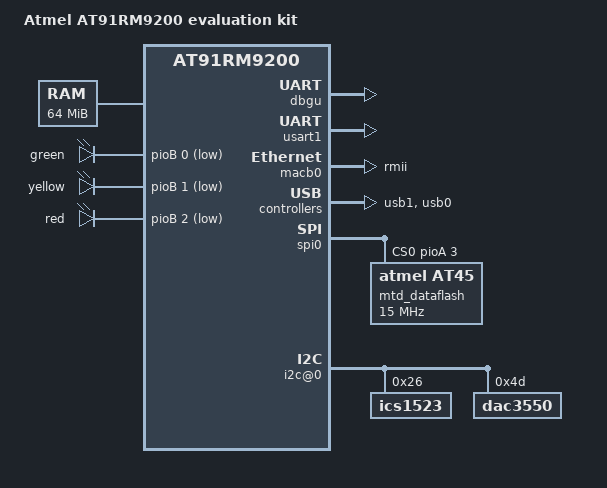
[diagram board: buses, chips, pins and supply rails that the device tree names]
/*
 * at91rm9200ek.dts - Device Tree file for Atmel AT91RM9200 evaluation kit
 *
 *  Copyright (C) 2012 Joachim Eastwood <manabian@gmail.com>
 *
 * Licensed under GPLv2 only
 */
/dts-v1/;
#include "at91rm9200.dtsi"

/ {
	model = "Atmel AT91RM9200 evaluation kit";
	compatible = "atmel,at91rm9200ek", "atmel,at91rm9200";

	memory {
		reg = <0x20000000 0x4000000>;
	};

	clocks {
		#address-cells = <1>;
		#size-cells = <1>;
		ranges;

		main_clock: clock@0 {
			compatible = "atmel,osc", "fixed-clock";
			clock-frequency = <18432000>;
		};
	};

	ahb {
		apb {
			pinctrl@fffff400 {
				usb1 {
					pinctrl_usb1_vbus: usb1_vbus-0 {
						atmel,pins = <AT91_PIOD 4 AT91_PERIPH_GPIO AT91_PINCTRL_NONE>;
					};

					pinctrl_usb1_pullup: usb1_pullup-0 {
						atmel,pins = <AT91_PIOD 5 AT91_PERIPH_GPIO AT91_PINCTRL_MULTI_DRIVE>;
					};
				};

				mmc0 {
					pinctrl_mmc0_slot0_detect: mmc0_slot0_detect-0 {
						atmel,pins =
							<AT91_PIOB 27 AT91_PERIPH_GPIO AT91_PINCTRL_PULL_UP_DEGLITCH>;
					};

					pinctrl_mmc0_slot0_write_protect: mmc0_slot0_write_protect-0 {
						atmel,pins =
							<AT91_PIOA 17 AT91_PERIPH_GPIO AT91_PINCTRL_PULL_UP>;
					};

					pinctrl_mmc0_slot0_switch: mmc0_slot0_switch-0 {
						atmel,pins =
							<AT91_PIOB 22 AT91_PERIPH_GPIO (AT91_PINCTRL_OUTPUT | AT91_PINCTRL_OUTPUT_VAL(1))>;
					};
				};

				spi0 {
					pinctrl_spi0_cs3_switch: spi0_cs3_switch-0 {
						atmel,pins =
							<AT91_PIOB 22 AT91_PERIPH_GPIO (AT91_PINCTRL_OUTPUT | AT91_PINCTRL_OUTPUT_VAL(0))>;
					};
				};
			};

			dbgu: serial@fffff200 {
				status = "okay";
			};

			usart1: serial@fffc4000 {
				pinctrl-0 =
						<&pinctrl_uart1
						 &pinctrl_uart1_rts
						 &pinctrl_uart1_cts
						 &pinctrl_uart1_dtr_dsr
						 &pinctrl_uart1_dcd
						 &pinctrl_uart1_ri>;
				status = "okay";
			};

			macb0: ethernet@fffbc000 {
				phy-mode = "rmii";
				status = "okay";

				phy0: ethernet-phy {
					interrupt-parent = <&pioC>;
					interrupts = <4 IRQ_TYPE_EDGE_FALLING>;
				};
			};

			usb1: gadget@fffb0000 {
				atmel,vbus-gpio = <&pioD 4 GPIO_ACTIVE_HIGH>;
				atmel,pullup-gpio = <&pioD 5 GPIO_ACTIVE_HIGH>;
				pinctrl-names = "default";
				pinctrl-0 = <&pinctrl_usb1_vbus
					     &pinctrl_usb1_pullup>;
				status = "okay";
			};

			spi0: spi@fffe0000 {
				status = "okay";
				cs-gpios = <&pioA 3 0>, <0>, <0>, <0>;
				mtd_dataflash@0 {
					compatible = "atmel,at45", "atmel,dataflash";
					spi-max-frequency = <15000000>;
					reg = <0>;
				};
			};

			mmc0: mmc@fffb4000 {
				#address-cells = <1>;
				#size-cells = <0>;
				pinctrl-0 = <&pinctrl_mmc0_clk
					     &pinctrl_mmc0_slot0_cmd_dat0
					     &pinctrl_mmc0_slot0_dat1_3
					     &pinctrl_mmc0_slot0_detect
					     &pinctrl_mmc0_slot0_write_protect
					     &pinctrl_mmc0_slot0_switch>;

				slot0: slot@0 {
					reg = <0>;
					bus-width = <4>;
					cd-gpios = <&pioB 27 GPIO_ACTIVE_HIGH>;
					wp-gpios = <&pioA 17 GPIO_ACTIVE_HIGH>;
				};
			};

			spi0: spi@fffe0000 {
				pinctrl-0 = <&pinctrl_spi0 &pinctrl_spi0_cs0>;
				cs-gpios = <&pioA 3 GPIO_ACTIVE_HIGH>, <0>,
					   <0>, <0>;
				status = "okay";

				mtd_dataflash@0 {
					compatible = "atmel,at45", "atmel,dataflash";
					spi-max-frequency = <15000000>;
					reg = <0>;
				};
			};
		};

		usb0: ohci@00300000 {
			num-ports = <2>;
			status = "okay";
		};
	};

	i2c@0 {
		status = "okay";

		ics1523@26 {
			reg = <0x26>;
		};

		dac3550@4d {
			reg = <0x4d>;
		};
	};

	leds {
		compatible = "gpio-leds";

		ds2 {
			label = "green";
			gpios = <&pioB 0 GPIO_ACTIVE_LOW>;
			linux,default-trigger = "mmc0";
		};

		ds4 {
			label = "yellow";
			gpios = <&pioB 1 GPIO_ACTIVE_LOW>;
			linux,default-trigger = "heartbeat";
		};

		ds6 {
			label = "red";
			gpios = <&pioB 2 GPIO_ACTIVE_LOW>;
		};
	};
};
